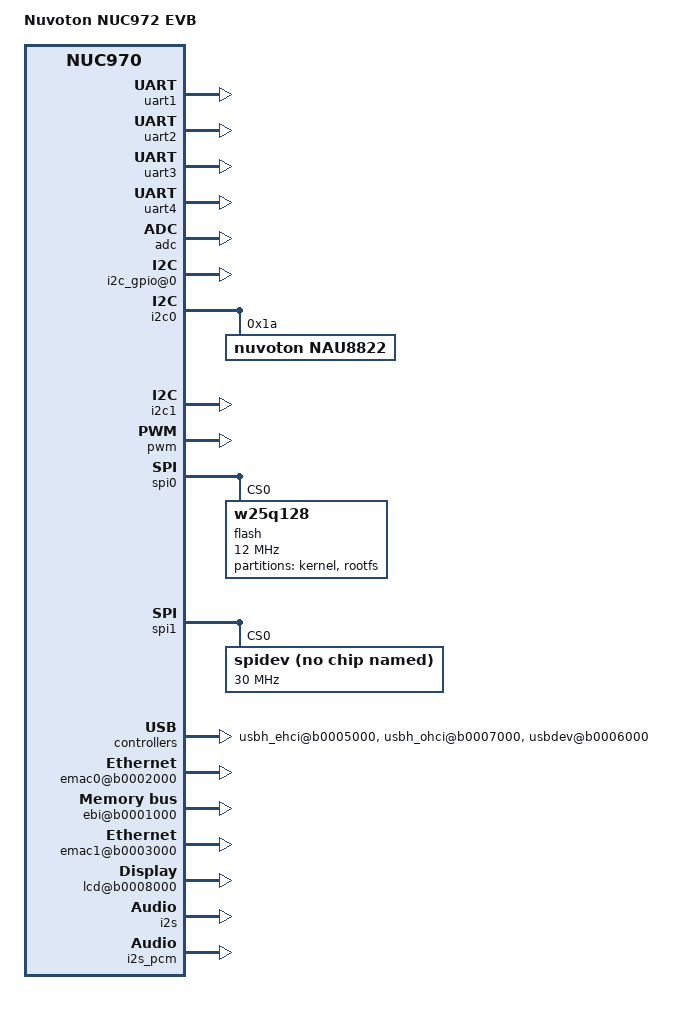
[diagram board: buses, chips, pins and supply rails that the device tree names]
/*
 * nuc972-evb.dts - Device Tree file for Nuvoton NUC972 EVB board
 *
 * Copyright (C) 2015 Tanshi Li <chuncky@sohu.com>
 *
 * Licensed under GPLv2.
 */
/dts-v1/;
/include/ "nuc970.dtsi"
/* /include/ "nuc972.dtsi" */

/ {
	model = "Nuvoton NUC972 EVB";
	compatible = "nuvoton,nuc972-evb", "nuvoton,nuc972", "nuvoton,nuc970";

	chosen {
		bootargs = "root=/dev/ram0 console=ttyS0,115200n8 rdinit=/sbin/init mem=64M";
	};
	
	apb {
		uart1: serial@b8000100 {
			status = "okay";
		};

		uart2: serial@b8000200 {
			status = "okay";
		};

		uart3: serial@b8000300 {
			status = "okay";
		};

		uart4: serial@b8000400 {
			status = "okay";
		};

		can0: can@b800b000 {
			status = "disabled";
		};

		can1: can@b800b400 {
			status = "disabled";
		};

		kpi: kpi@b8008000 {
			status = "disabled";
		};

		rtc: rtc@b8004000 {
			status = "disabled";
		};

		jpeg: jpeg@b000a000 {
			status = "disabled";
		};

		adc: adc@b800a000 {
			keypad-status = "okay";
			touch-status = "okay";
			status = "okay";
		};
		
		i2c_gpio@0 {
			status = "okay";
		};

		i2c0: i2c0@b8006000 {            
			status = "okay";
			
			nau8822: nau8822@1a {
				compatible = "nuvoton,nau8822";
				reg = <0x1a> ;
			};
		};
		
		i2c1: i2c1@b8006100 {
			status = "okay";
		};
		
		pwm: pwm@b8007000 {
			status = "okay";
		};
		
		spi0: spi0@b8006200 {
			status = "okay";
			#address-cells = <1>;
			#size-cells = <0>;
			
			num_cs  = <2>;
			lsb     = <0>;
			txneg   = <1>;
			rxneg   = <0>;
			divider = <4>;
			sleep   = <0>;
			txnum   = <0>;
			txbitlen = <8>;
			bus_num	= <0>;
			
			flash: m25p80@0 {
					compatible = "w25q128";                     
					#address-cells = <1>;
					#size-cells = <1>;
					reg = <0>;
					spi-max-frequency = <12000000>;
					
					partition@0 {
						label = "kernel";
						reg = <0x00000000 0x0800000>;
					};
					partition@1 {
						label = "rootfs";
						reg = <0x0800000 0x0800000>;
					};                   
			};
		};
		
		spi1: spi1@b8006300 {
			status = "okay";
			#address-cells = <1>;
			#size-cells = <0>;
		   
			num_cs  = <2>;
			lsb     = <0>;
			txneg   = <1>;
			rxneg   = <0>;
			divider = <4>;
			sleep   = <0>;
			txnum   = <0>;
			txbitlen = <8>;
			bus_num	= <1>;
						
			spidev@0x01 {
				compatible = "spidev";               
				spi-max-frequency = <30000000>;
				reg = <0>;
			};
		};
	};

	ahb {
		usbh_ehci@b0005000 {
			status = "okay";
		};
		usbh_ohci@b0007000{
			status = "okay";
		};

        usbdev@b0006000 {
			status = "okay";
        };
        fmi@b000d000 {
			pinctrl-names = "default";
			pinctrl-0 = <&pinctrl_nand_pc>;
            status = "okay";
        };
        sdh@b000c000 {
			pinctrl-names = "default";
			pinctrl-0 = <&pinctrl_sd0>;
            status = "okay";
        };

		emac0@b0002000 {
			status = "okay";
		};
		cap@b000e000 {
			status = "okay";
		};
		dma@b0004000 {
			status = "okay";
		};
		ebi@b0001000 {
			status = "okay";
		};
		emac1@b0003000 {
			status = "okay";
		};
		
		lcd@b0008000 {
			status = "okay";
			type = <0x200>;
			bpp = <32>;
			width = <800>;
			height = <480>;
			xres = <800>;
			yres = <480>;
			pixclock = <20000000>;
			left_margin = <88>;
			right_margin = <40>;
			hsync_len = <48>;
			upper_margin = <32>;
			lower_margin = <13>;
			vsync_len = <3>;
			dccs = <0x0e00020a>;
			fbctrl = <0x03200320>;
			devctl = <0x070000c0>; 
			scale = <0x04000400>;
			gpio_blen = <0xC3>;
			gpio_lcs = <0xC2>;
			
		};
		
		i2s: i2s@b0009000 {
			status = "okay";
		};
		
		i2s_pcm: i2s_pcm {
			status = "okay";
		};   
		
		sound {
			compatible = "nuvoton,nuc970-audio";
			i2s-controller = <&i2s>;
			i2s-platform = <&i2s_pcm>;
		};
		
		ge2d@b000b000 {
			status = "okay";
		};
	};
};
